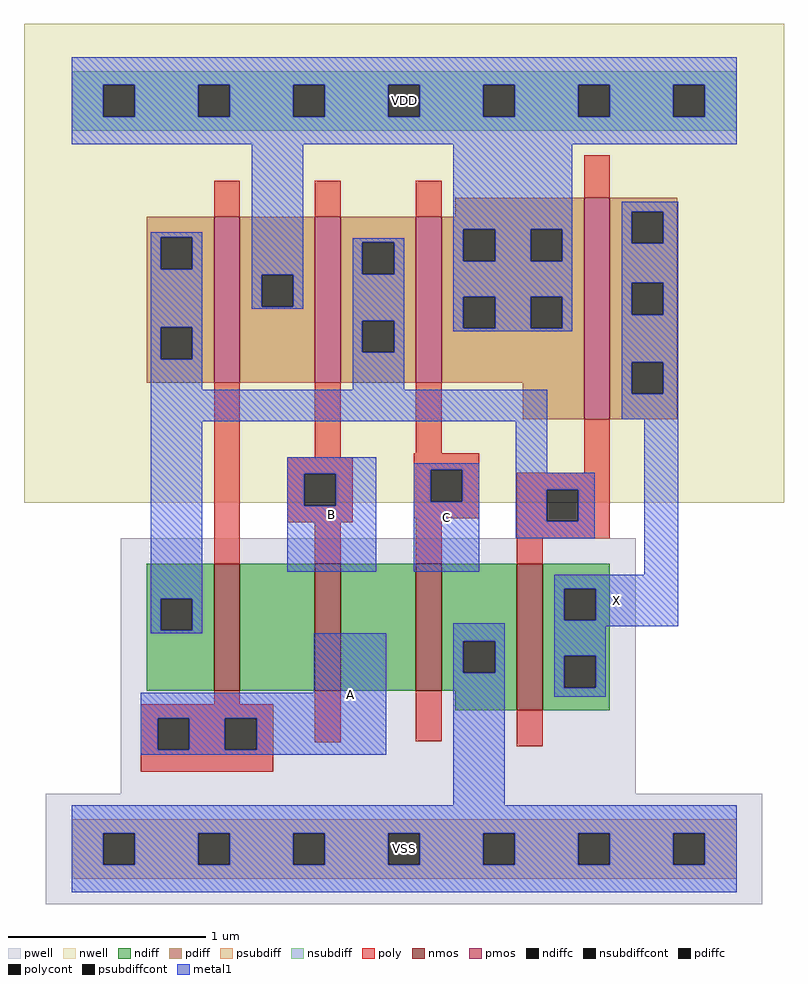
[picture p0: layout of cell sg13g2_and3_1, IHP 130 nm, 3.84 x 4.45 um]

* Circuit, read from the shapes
.subckt sg13g2_and3_1 X B VDD VSS C A
XM1 n1 A n2 VSS sg13_lv_nmos w=0.64u l=0.13u
XM2 n3 B n1 VSS sg13_lv_nmos w=0.64u l=0.13u
XM3 VSS C n3 VSS sg13_lv_nmos w=0.64u l=0.13u
XM4 X n2 VSS VSS sg13_lv_nmos w=0.74u l=0.13u
XM5 VDD A n2 VDD sg13_lv_pmos w=0.84u l=0.13u
XM6 n2 B VDD VDD sg13_lv_pmos w=0.84u l=0.13u
XM7 VDD C n2 VDD sg13_lv_pmos w=0.84u l=0.13u
XM8 X n2 VDD VDD sg13_lv_pmos w=1.12u l=0.13u
.ends

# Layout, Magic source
magic
tech ihp-sg13g2
magscale 1 2
<< nwell >>
rect -48 350 720 834
<< pwell >>
rect 50 56 570 314
rect -26 -56 698 56
<< nmos >>
rect 144 160 170 288
rect 246 160 272 288
rect 348 160 374 288
rect 450 140 476 288
<< pmos >>
rect 144 471 170 639
rect 246 471 272 639
rect 348 471 374 639
rect 518 434 544 658
<< ndiff >>
rect 76 253 144 288
rect 76 221 90 253
rect 122 221 144 253
rect 76 160 144 221
rect 170 160 246 288
rect 272 160 348 288
rect 374 210 450 288
rect 374 178 396 210
rect 428 178 450 210
rect 374 160 450 178
rect 388 140 450 160
rect 476 263 544 288
rect 476 231 498 263
rect 530 231 544 263
rect 476 195 544 231
rect 476 163 498 195
rect 530 163 544 195
rect 476 140 544 163
<< pdiff >>
rect 388 639 518 658
rect 76 618 144 639
rect 76 586 90 618
rect 122 586 144 618
rect 76 527 144 586
rect 76 495 90 527
rect 122 495 144 527
rect 76 471 144 495
rect 170 580 246 639
rect 170 548 192 580
rect 224 548 246 580
rect 170 471 246 548
rect 272 613 348 639
rect 272 581 294 613
rect 326 581 348 613
rect 272 534 348 581
rect 272 502 294 534
rect 326 502 348 534
rect 272 471 348 502
rect 374 626 518 639
rect 374 594 396 626
rect 428 594 464 626
rect 496 594 518 626
rect 374 558 518 594
rect 374 526 396 558
rect 428 526 464 558
rect 496 526 518 558
rect 374 471 518 526
rect 456 434 518 471
rect 544 644 612 658
rect 544 612 566 644
rect 598 612 612 644
rect 544 572 612 612
rect 544 540 566 572
rect 598 540 612 572
rect 544 492 612 540
rect 544 460 566 492
rect 598 460 612 492
rect 544 434 612 460
<< ndiffc >>
rect 90 221 122 253
rect 396 178 428 210
rect 498 231 530 263
rect 498 163 530 195
<< pdiffc >>
rect 90 586 122 618
rect 90 495 122 527
rect 192 548 224 580
rect 294 581 326 613
rect 294 502 326 534
rect 396 594 428 626
rect 464 594 496 626
rect 396 526 428 558
rect 464 526 496 558
rect 566 612 598 644
rect 566 540 598 572
rect 566 460 598 492
<< psubdiff >>
rect 0 16 672 30
rect 0 -16 32 16
rect 64 -16 128 16
rect 160 -16 224 16
rect 256 -16 320 16
rect 352 -16 416 16
rect 448 -16 512 16
rect 544 -16 608 16
rect 640 -16 672 16
rect 0 -30 672 -16
<< nsubdiff >>
rect 0 772 672 786
rect 0 740 32 772
rect 64 740 128 772
rect 160 740 224 772
rect 256 740 320 772
rect 352 740 416 772
rect 448 740 512 772
rect 544 740 608 772
rect 640 740 672 772
rect 0 726 672 740
<< psubdiffcont >>
rect 32 -16 64 16
rect 128 -16 160 16
rect 224 -16 256 16
rect 320 -16 352 16
rect 416 -16 448 16
rect 512 -16 544 16
rect 608 -16 640 16
<< nsubdiffcont >>
rect 32 740 64 772
rect 128 740 160 772
rect 224 740 256 772
rect 320 740 352 772
rect 416 740 448 772
rect 512 740 544 772
rect 608 740 640 772
<< poly >>
rect 144 639 170 675
rect 246 639 272 675
rect 348 639 374 675
rect 518 658 544 701
rect 144 288 170 471
rect 246 396 272 471
rect 348 400 374 471
rect 218 379 284 396
rect 218 347 235 379
rect 267 347 284 379
rect 218 330 284 347
rect 346 383 412 400
rect 346 351 363 383
rect 395 351 412 383
rect 518 380 544 434
rect 346 334 412 351
rect 450 363 544 380
rect 246 288 272 330
rect 348 288 374 334
rect 450 331 480 363
rect 512 331 544 363
rect 450 314 544 331
rect 450 288 476 314
rect 144 146 170 160
rect 70 132 204 146
rect 70 100 87 132
rect 119 100 155 132
rect 187 100 204 132
rect 246 108 272 160
rect 348 109 374 160
rect 450 104 476 140
rect 70 78 204 100
<< polycont >>
rect 235 347 267 379
rect 363 351 395 383
rect 480 331 512 363
rect 87 100 119 132
rect 155 100 187 132
<< metal1 >>
rect 0 772 672 800
rect 0 740 32 772
rect 64 740 128 772
rect 160 740 224 772
rect 256 740 320 772
rect 352 740 416 772
rect 448 740 512 772
rect 544 740 608 772
rect 640 740 672 772
rect 0 712 672 740
rect 80 618 132 623
rect 80 586 90 618
rect 122 586 132 618
rect 80 527 132 586
rect 182 580 234 712
rect 386 626 506 712
rect 182 548 192 580
rect 224 548 234 580
rect 182 546 234 548
rect 284 613 336 617
rect 284 581 294 613
rect 326 581 336 613
rect 80 495 90 527
rect 122 495 132 527
rect 80 464 132 495
rect 284 534 336 581
rect 284 502 294 534
rect 326 502 336 534
rect 386 594 396 626
rect 428 594 464 626
rect 496 594 506 626
rect 386 558 506 594
rect 386 526 396 558
rect 428 526 464 558
rect 496 526 506 558
rect 386 523 506 526
rect 556 644 613 654
rect 556 612 566 644
rect 598 612 613 644
rect 556 572 613 612
rect 556 540 566 572
rect 598 540 613 572
rect 284 464 336 502
rect 556 492 613 540
rect 80 432 481 464
rect 556 460 566 492
rect 598 460 613 492
rect 556 434 613 460
rect 80 253 132 432
rect 218 379 308 396
rect 218 347 235 379
rect 267 347 308 379
rect 218 280 308 347
rect 346 383 412 390
rect 346 351 363 383
rect 395 351 412 383
rect 346 280 412 351
rect 449 380 481 432
rect 449 363 529 380
rect 449 331 480 363
rect 512 331 529 363
rect 449 314 529 331
rect 579 277 613 434
rect 80 221 90 253
rect 122 221 132 253
rect 488 263 613 277
rect 488 231 498 263
rect 530 231 613 263
rect 80 218 132 221
rect 245 158 318 218
rect 70 132 318 158
rect 70 100 87 132
rect 119 100 155 132
rect 187 100 318 132
rect 70 95 318 100
rect 386 210 438 228
rect 386 178 396 210
rect 428 178 438 210
rect 386 44 438 178
rect 488 225 613 231
rect 488 195 540 225
rect 488 163 498 195
rect 530 163 540 195
rect 488 154 540 163
rect 0 16 672 44
rect 0 -16 32 16
rect 64 -16 128 16
rect 160 -16 224 16
rect 256 -16 320 16
rect 352 -16 416 16
rect 448 -16 512 16
rect 544 -16 608 16
rect 640 -16 672 16
rect 0 -44 672 -16
<< labels >>
flabel metal1 s 488 225 613 277 0 FreeSans 400 0 0 0 X
port 2 nsew
flabel metal1 s 218 280 308 396 0 FreeSans 400 0 0 0 B
port 3 nsew
flabel metal1 s 0 712 672 800 0 FreeSans 400 0 0 0 VDD
port 4 nsew
flabel metal1 s 0 -44 672 44 0 FreeSans 400 0 0 0 VSS
port 5 nsew
flabel metal1 s 346 280 412 390 0 FreeSans 400 0 0 0 C
port 6 nsew
flabel metal1 s 245 95 318 218 0 FreeSans 400 0 0 0 A
port 7 nsew
<< properties >>
string FIXED_BBOX 0 0 672 756
string GDS_END 99032
string GDS_FILE ../gds/controller.gds
string GDS_START 93396
<< end >>
